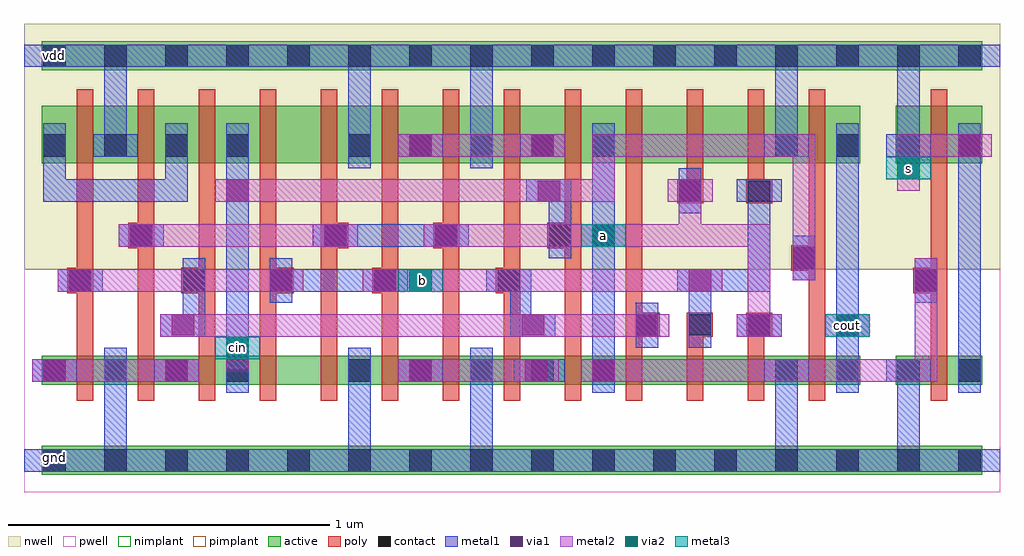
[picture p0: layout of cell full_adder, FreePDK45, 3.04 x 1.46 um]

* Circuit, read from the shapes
.subckt full_adder a b cin cout gnd s vdd
M1 gnd b n1 gnd nfet w=0.09u l=0.05u
M2 n1 a gnd gnd nfet w=0.09u l=0.05u
M3 n2 cin n1 gnd nfet w=0.09u l=0.05u
M4 n3 b n2 gnd nfet w=0.09u l=0.05u
M5 gnd a n3 gnd nfet w=0.09u l=0.05u
M6 n4 b gnd gnd nfet w=0.09u l=0.05u
M7 gnd a n4 gnd nfet w=0.09u l=0.05u
M8 n4 cin gnd gnd nfet w=0.09u l=0.05u
M9 n5 n2 n4 gnd nfet w=0.09u l=0.05u
M10 n6 cin n5 gnd nfet w=0.09u l=0.05u
M11 n7 b n6 gnd nfet w=0.09u l=0.05u
M12 gnd a n7 gnd nfet w=0.09u l=0.05u
M13 cout n2 gnd gnd nfet w=0.09u l=0.05u
M14 s n5 gnd gnd nfet w=0.09u l=0.05u
M15 vdd b n8 vdd pfet w=0.18u l=0.05u
M16 n8 a vdd vdd pfet w=0.18u l=0.05u
M17 n2 cin n8 vdd pfet w=0.18u l=0.05u
M18 n9 b n2 vdd pfet w=0.18u l=0.05u
M19 vdd a n9 vdd pfet w=0.18u l=0.05u
M20 n10 b vdd vdd pfet w=0.18u l=0.05u
M21 vdd a n10 vdd pfet w=0.18u l=0.05u
M22 n10 cin vdd vdd pfet w=0.18u l=0.05u
M23 n5 n2 n10 vdd pfet w=0.18u l=0.05u
M24 n11 cin n5 vdd pfet w=0.18u l=0.05u
M25 n12 a n11 vdd pfet w=0.18u l=0.05u
M26 vdd b n12 vdd pfet w=0.18u l=0.05u
M27 cout n2 vdd vdd pfet w=0.18u l=0.05u
M28 s n5 vdd vdd pfet w=0.18u l=0.05u
.ends

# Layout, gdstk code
import gdstk
lib = gdstk.Library(unit=1e-6, precision=5e-10)
def R(c, l, rs):  # rectangles x0, y0, x1, y1
    for r in rs: c.add(gdstk.rectangle(r[:2], r[2:], *l))
def A(c, l, x, y, w, h, nx, ny, dx, dy):  # array of equal rectangles
    R(c, l, [(x+i*dx, y+j*dy, x+i*dx+w, y+j*dy+h) for i in range(nx) for j in range(ny)])
def P(c, l, *ps):  # polygons
    for p in ps: c.add(gdstk.Polygon(p, *l))
active = (1, 0)
pwell = (2, 0)
nwell = (3, 0)
nimplant = (4, 0)
pimplant = (5, 0)
poly = (9, 0)
contact = (10, 0)
metal1 = (11, 0)
via1 = (12, 0)
metal2 = (13, 0)
via2 = (14, 0)
metal3 = (15, 0)

full_adder = lib.new_cell('full_adder')
R(full_adder, active, [(0.055,-0.045,2.985,0.045), (0.055,0.235,2.605,0.325), (2.715,0.235,2.985,0.325), (0.055,0.925,2.605,1.105), (2.715,0.925,2.985,1.105), (0.055,1.215,2.985,1.305)])
R(full_adder, pwell, [(0,-0.1,3.04,0.595)])
R(full_adder, nwell, [(0,0.595,3.04,1.36)])
R(full_adder, nimplant, [(0.055,0.235,2.605,0.325), (2.715,0.235,2.985,0.325), (0.055,1.215,2.985,1.305)])
R(full_adder, pimplant, [(0.055,-0.045,2.985,0.045), (0.055,0.925,2.605,1.105), (2.715,0.925,2.985,1.105)])
A(full_adder, poly, 0.165, 0.185, 0.05, 0.97, 10, 1, 0.19, 0)
R(full_adder, poly, [(2.065,0.185,2.115,0.46), (2.255,0.185,2.305,0.46), (2.445,0.185,2.495,1.155), (2.825,0.185,2.875,1.155), (1.925,0.385,1.98,0.46), (2.115,0.385,2.145,0.46), (2.25,0.385,2.255,0.46), (2.305,0.385,2.33,0.46), (0.135,0.52,0.165,0.6), (0.49,0.52,0.545,0.6), (0.785,0.52,0.84,0.6), (1.085,0.52,1.115,0.6), (1.47,0.52,1.495,0.6), (2.77,0.52,2.825,0.6), (2.39,0.59,2.445,0.67), (0.325,0.66,0.355,0.74), (0.975,0.66,1.01,0.74), (1.275,0.66,1.305,0.74), (1.63,0.66,1.685,0.74), (2.035,0.8,2.065,0.875), (2.065,0.8,2.115,1.155), (2.25,0.8,2.255,0.875), (2.255,0.8,2.305,1.155), (2.305,0.8,2.33,0.875)])
A(full_adder, contact, 0.06, -0.035, 0.07, 0.07, 16, 2, 0.19, 1.26)
A(full_adder, contact, 0.06, 0.245, 0.07, 0.07, 4, 2, 0.19, 0.7)
A(full_adder, contact, 1.01, 0.245, 0.07, 0.07, 5, 2, 0.19, 0.7)
A(full_adder, contact, 2.34, 0.245, 0.07, 0.07, 4, 2, 0.19, 0.7)
R(full_adder, contact, [(1.905,0.39,1.97,0.455), (2.07,0.39,2.14,0.455), (2.255,0.39,2.325,0.455), (0.14,0.525,0.21,0.595), (0.495,0.525,0.565,0.595), (0.765,0.525,0.835,0.595), (1.09,0.525,1.16,0.595), (1.475,0.525,1.545,0.595), (2.775,0.525,2.845,0.595), (2.395,0.595,2.465,0.665), (0.33,0.665,0.4,0.735), (0.935,0.665,1.005,0.735), (1.28,0.665,1.35,0.735), (1.635,0.665,1.705,0.735), (2.04,0.805,2.11,0.87), (2.255,0.805,2.325,0.87)])
R(full_adder, metal1, [(0,-0.035,3.04,0.035), (0.25,0.035,0.32,0.35), (1.01,0.035,1.08,0.35), (1.39,0.035,1.46,0.35), (2.34,0.035,2.41,0.245), (2.72,0.035,2.79,0.245), (0.63,0.21,0.7,1.05), (1.77,0.21,1.84,1.05), (2.53,0.21,2.6,1.05), (2.91,0.21,2.98,1.05), (0.025,0.245,0.165,0.315), (0.405,0.245,0.545,0.315), (1.165,0.245,1.305,0.315), (1.525,0.245,1.685,0.315), (2.305,0.245,2.445,0.315), (2.685,0.245,2.825,0.315), (1.905,0.35,1.975,0.49), (2.07,0.35,2.14,0.525), (0.425,0.385,0.565,0.455), (1.515,0.385,1.655,0.455), (2.22,0.385,2.36,0.455), (2.6,0.385,2.635,0.455), (0.495,0.455,0.565,0.63), (1.515,0.455,1.58,0.525), (0.765,0.49,0.835,0.63), (2.775,0.49,2.845,0.63), (0.105,0.525,0.245,0.595), (0.835,0.525,1.195,0.595), (1.44,0.525,1.58,0.595), (2.035,0.525,2.255,0.595), (2.255,0.525,2.325,0.805), (2.395,0.56,2.465,0.7), (1.635,0.63,1.705,0.805), (0.295,0.665,0.435,0.735), (0.9,0.665,1.385,0.735), (2.04,0.77,2.11,0.91), (1.565,0.805,1.705,0.875), (2.22,0.805,2.36,0.875), (1.01,0.91,1.08,1.225), (1.39,0.91,1.46,1.225), (0.215,0.945,0.355,1.015), (1.165,0.945,1.305,1.015), (1.545,0.945,1.685,1.015), (2.305,0.945,2.445,1.015), (2.685,0.945,2.825,1.015), (0.25,1.015,0.32,1.225), (2.34,1.015,2.41,1.225), (2.72,1.015,2.79,1.225), (0,1.225,3.04,1.295)])
P(full_adder, metal1, [(0.06,1.05),(0.06,0.805),(0.51,0.805),(0.51,1.05),(0.44,1.05),(0.44,0.875),(0.13,0.875),(0.13,1.05)])
R(full_adder, via1, [(0.06,0.245,0.13,0.315), (0.44,0.245,0.51,0.315), (1.2,0.245,1.27,0.315), (1.56,0.245,1.63,0.315), (1.77,0.245,1.84,0.315), (1.905,0.385,1.975,0.455), (2.255,0.385,2.325,0.455), (2.53,0.385,2.6,0.455), (0.46,0.39,0.53,0.455), (1.55,0.39,1.62,0.455), (0.14,0.525,0.21,0.595), (0.765,0.525,0.835,0.595), (1.09,0.525,1.16,0.595), (2.07,0.525,2.14,0.595), (2.775,0.525,2.845,0.595), (2.395,0.595,2.465,0.665), (0.33,0.665,0.4,0.735), (0.935,0.665,1.005,0.735), (1.28,0.665,1.35,0.735), (0.63,0.805,0.7,0.875), (1.6,0.805,1.67,0.87), (2.04,0.805,2.11,0.875), (1.2,0.945,1.27,1.015), (1.58,0.945,1.65,1.015), (2.91,0.945,2.98,1.015)])
R(full_adder, metal2, [(0.025,0.245,0.545,0.315), (1.165,0.245,1.665,0.315), (1.735,0.245,2.775,0.315), (2.775,0.245,2.845,0.63), (0.63,0.28,0.7,0.385), (0.425,0.385,2.01,0.455), (2.22,0.385,2.36,0.455), (2.495,0.385,2.635,0.455), (2.255,0.455,2.325,0.665), (0.105,0.525,0.87,0.595), (1.055,0.525,2.175,0.595), (2.395,0.56,2.465,1.015), (0.295,0.665,1.04,0.735), (1.245,0.665,2.325,0.735), (2.04,0.735,2.11,0.805), (0.595,0.805,1.84,0.875), (2.005,0.805,2.145,0.875), (2.72,0.84,2.79,1.015), (1.77,0.875,1.84,1.015), (1.165,0.945,1.685,1.015), (1.84,0.945,2.395,1.015), (2.79,0.945,3.015,1.015)])
R(full_adder, via2, [(0.63,0.315,0.7,0.385), (2.53,0.385,2.6,0.455), (1.2,0.525,1.27,0.595), (1.77,0.665,1.84,0.735), (2.72,0.875,2.79,0.945)])
R(full_adder, metal3, [(0.595,0.315,0.735,0.385), (2.495,0.385,2.635,0.455), (1.165,0.525,1.305,0.595), (1.735,0.665,1.875,0.735), (2.685,0.875,2.825,0.945)])
full_adder.add(gdstk.Label('vdd', (0.095,1.26), layer=11, texttype=0))
full_adder.add(gdstk.Label('gnd', (0.095,0.01), layer=11, texttype=0))
full_adder.add(gdstk.Label('a', (1.805,0.7), layer=15, texttype=0))
full_adder.add(gdstk.Label('b', (1.24,0.56), layer=15, texttype=0))
full_adder.add(gdstk.Label('cout', (2.565,0.42), layer=15, texttype=0))
full_adder.add(gdstk.Label('cin', (0.665,0.35), layer=15, texttype=0))
full_adder.add(gdstk.Label('s', (2.755,0.91), layer=15, texttype=0))

lib.write_gds('full_adder.gds')
